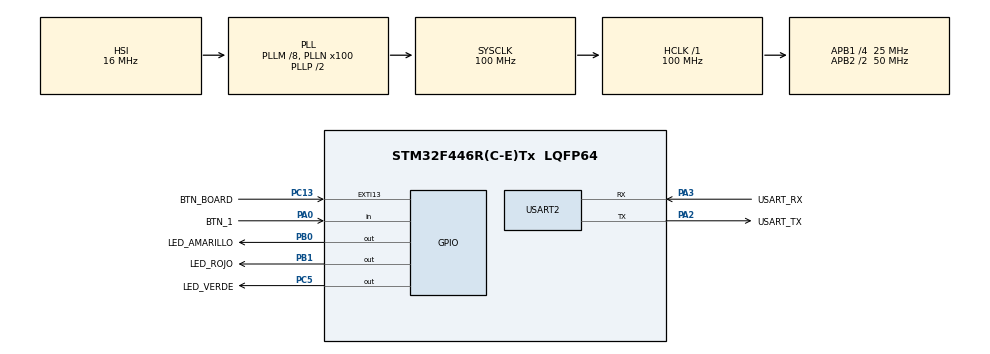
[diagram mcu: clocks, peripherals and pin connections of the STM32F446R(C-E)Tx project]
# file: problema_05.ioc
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FREERTOS.Tasks01=defaultTask,24,128,StartDefaultTask,Default,NULL,Dynamic,NULL,NULL
FREERTOS.configUSE_NEWLIB_REENTRANT=1
Mcu.Family=STM32F4
Mcu.Name=STM32F446R(C-E)Tx
Mcu.Package=LQFP64
NVIC.PriorityGroup=NVIC_PRIORITYGROUP_4
NVIC.TIM1_UP_TIM10_IRQn=true\:15\:0\:false\:false\:true\:false\:false\:true\:true
NVIC.TimeBase=TIM1_UP_TIM10_IRQn
NVIC.TimeBaseIP=TIM1
PA0-WKUP.GPIO_Label=BTN_1
PA0-WKUP.Signal=GPIO_Input
PA13.GPIO_Label=TMS
PA13.Mode=Serial_Wire
PA13.Signal=SYS_JTMS-SWDIO
PA14.GPIO_Label=TCK
PA14.Mode=Serial_Wire
PA14.Signal=SYS_JTCK-SWCLK
PA2.GPIO_Label=USART_TX
PA2.Mode=Asynchronous
PA2.Signal=USART2_TX
PA3.GPIO_Label=USART_RX
PA3.Mode=Asynchronous
PA3.Signal=USART2_RX
PB0.GPIO_Label=LED_AMARILLO
PB0.Signal=GPIO_Output
PB1.GPIO_Label=LED_ROJO
PB1.Signal=GPIO_Output
PB3.GPIO_Label=SWO
PB3.Signal=SYS_JTDO-SWO
PC13.GPIO_Label=BTN_BOARD
PC13.GPIO_ModeDefaultEXTI=GPIO_MODE_IT_RISING
PC13.GPIO_PuPd=GPIO_PULLDOWN
PC13.Signal=GPXTI13
PC14-OSC32_IN.Mode=LSE-External-Oscillator
PC14-OSC32_IN.Signal=RCC_OSC32_IN
PC15-OSC32_OUT.Mode=LSE-External-Oscillator
PC15-OSC32_OUT.Signal=RCC_OSC32_OUT
PC5.GPIO_Label=LED_VERDE
PC5.Signal=GPIO_Output
PH0-OSC_IN.Mode=HSE-External-Oscillator
PH0-OSC_IN.Signal=RCC_OSC_IN
PH1-OSC_OUT.Mode=HSE-External-Oscillator
PH1-OSC_OUT.Signal=RCC_OSC_OUT
ProjectManager.HeapSize=0x200
ProjectManager.StackSize=0x400
ProjectManager.TargetToolchain=STM32CubeIDE
RCC.48MHZClocksFreq_Value=84000000
RCC.AHBFreq_Value=100000000
RCC.APB1CLKDivider=RCC_HCLK_DIV4
RCC.APB1Freq_Value=25000000
RCC.APB1TimFreq_Value=50000000
RCC.APB2CLKDivider=RCC_HCLK_DIV2
RCC.APB2Freq_Value=50000000
RCC.APB2TimFreq_Value=100000000
RCC.CortexFreq_Value=100000000
RCC.FLatency-AdvancedSettings=FLASH_LATENCY_3
RCC.HCLKFreq_Value=100000000
RCC.HSE_VALUE=8000000
RCC.HSI_VALUE=16000000
RCC.PLLM=8
RCC.PLLN=100
RCC.SYSCLKFreq_VALUE=100000000
RCC.SYSCLKSource=RCC_SYSCLKSOURCE_PLLCLK
RCC.USBFreq_Value=100000000
RCC.VCOOutputFreq_Value=200000000
USART2.VirtualMode=VM_ASYNC
VP_FREERTOS_VS_CMSIS_V2.Mode=CMSIS_V2
VP_SYS_VS_tim1.Mode=TIM1
board=NUCLEO-F446RE

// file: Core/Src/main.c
/* USER CODE BEGIN Header */
/**
  ******************************************************************************
  * @file           : main.c
  * @brief          : Main program body
  ******************************************************************************
  * @attention
  *
  * Copyright (c) 2026 STMicroelectronics.
  * All rights reserved.
  *
  * This software is licensed under terms that can be found in the LICENSE file
  * in the root directory of this software component.
  * If no LICENSE file comes with this software, it is provided AS-IS.
  *
  ******************************************************************************
  */
/* USER CODE END Header */
#include "main.h"
#include "cmsis_os.h"

/* USER CODE BEGIN Includes */
#include "interfaz_tp.h"
#include "task.h"
#include "semphr.h"

/* USER CODE END Includes */

UART_HandleTypeDef huart2;

/* Definitions for defaultTask */
osThreadId_t defaultTaskHandle;
const osThreadAttr_t defaultTask_attributes = {
  .name = "defaultTask",
  .stack_size = 128 * 4,
  .priority = (osPriority_t) osPriorityNormal,
};
/* USER CODE BEGIN PV */
SemaphoreHandle_t sem_led;
/* USER CODE END PV */

void SystemClock_Config(void);
static void MX_GPIO_Init(void);
static void MX_USART2_UART_Init(void);
void StartDefaultTask(void *argument);

/* USER CODE BEGIN 0 */
void tarea_led(void *p){
	while(1) {
		xSemaphoreTake(sem_led,portMAX_DELAY);
		invertir_led(2);
	}
}

void tarea_pulsador(void *p){
	int estado = 0;
	int debounce = 0;
	int espera_ms = 500;
	int mi_espera = 0;
	TickType_t presiono;
	TickType_t diferencia;

	while(1){
		mi_espera++;
		if(mi_espera >= espera_ms) {
			mi_espera = 0;
			xSemaphoreGive(sem_led);
		}

		switch(estado){
		case 0:
			if(pulsador_activo(0)){
				estado++;
				debounce=20;
			}
			break;
		case 1:
			if(!--debounce){
				if(pulsador_activo(0)){
					presiono = xTaskGetTickCount();
					estado++;
				}
				else {
					estado--;
				}
			}
			break;
		case 2:
			if(!pulsador_activo(0)){
				estado++;
				debounce=20;
			}
			break;
		case 3:
			if(!--debounce){
				if(!pulsador_activo(0)){
					diferencia = xTaskGetTickCount() - presiono;
					if(diferencia<50) {
						diferencia = 50;
					}
					if(diferencia>1000){
						diferencia = 1000;
					}
					espera_ms = diferencia;
					estado=0;
				}
				else {
					estado--;
				}
			}
			break;
		default:
			estado = 0;
			break;
		}
		vTaskDelay(pdMS_TO_TICKS(1));
	}
}

/* USER CODE END 0 */

int main(void)
{

  /* MCU Configuration--------------------------------------------------------*/

  /* Reset of all peripherals, Initializes the Flash interface and the Systick. */
  HAL_Init();

  /* Configure the system clock */
  SystemClock_Config();

  /* Initialize all configured peripherals */
  MX_GPIO_Init();
  MX_USART2_UART_Init();

  /* Init scheduler */
  osKernelInitialize();

  /* USER CODE BEGIN RTOS_SEMAPHORES */
  /* add semaphores, ... */
  sem_led = xSemaphoreCreateBinary();
  /* USER CODE END RTOS_SEMAPHORES */

  /* Create the thread(s) */
  /* creation of defaultTask */
  defaultTaskHandle = osThreadNew(StartDefaultTask, NULL, &defaultTask_attributes);

  /* USER CODE BEGIN RTOS_THREADS */
  /* add threads, ... */

  xTaskCreate(tarea_led,
			  "led",
			  configMINIMAL_STACK_SIZE,
			  NULL,
			  tskIDLE_PRIORITY+1,
			  NULL);

  xTaskCreate(tarea_pulsador,
		  	  "btn",
			  configMINIMAL_STACK_SIZE * 4,
			  NULL,
			  tskIDLE_PRIORITY+1,
			  NULL);

  /* USER CODE END RTOS_THREADS */

  /* Start scheduler */
  osKernelStart();

  /* We should never get here as control is now taken by the scheduler */

  /* Infinite loop */
  while (1)
  {

  }
}

void SystemClock_Config(void)
{
  RCC_OscInitTypeDef RCC_OscInitStruct = {0};
  RCC_ClkInitTypeDef RCC_ClkInitStruct = {0};

  /** Configure the main internal regulator output voltage
  */
  __HAL_RCC_PWR_CLK_ENABLE();
  __HAL_PWR_VOLTAGESCALING_CONFIG(PWR_REGULATOR_VOLTAGE_SCALE3);

  /** Initializes the RCC Oscillators according to the specified parameters
  * in the RCC_OscInitTypeDef structure.
  */
  RCC_OscInitStruct.OscillatorType = RCC_OSCILLATORTYPE_HSI;
  RCC_OscInitStruct.HSIState = RCC_HSI_ON;
  RCC_OscInitStruct.HSICalibrationValue = RCC_HSICALIBRATION_DEFAULT;
  RCC_OscInitStruct.PLL.PLLState = RCC_PLL_ON;
  RCC_OscInitStruct.PLL.PLLSource = RCC_PLLSOURCE_HSI;
  RCC_OscInitStruct.PLL.PLLM = 8;
  RCC_OscInitStruct.PLL.PLLN = 100;
  RCC_OscInitStruct.PLL.PLLP = RCC_PLLP_DIV2;
  RCC_OscInitStruct.PLL.PLLQ = 2;
  RCC_OscInitStruct.PLL.PLLR = 2;
  if (HAL_RCC_OscConfig(&RCC_OscInitStruct) != HAL_OK)
  {
    Error_Handler();
  }

  /** Initializes the CPU, AHB and APB buses clocks
  */
  RCC_ClkInitStruct.ClockType = RCC_CLOCKTYPE_HCLK|RCC_CLOCKTYPE_SYSCLK
                              |RCC_CLOCKTYPE_PCLK1|RCC_CLOCKTYPE_PCLK2;
  RCC_ClkInitStruct.SYSCLKSource = RCC_SYSCLKSOURCE_PLLCLK;
  RCC_ClkInitStruct.AHBCLKDivider = RCC_SYSCLK_DIV1;
  RCC_ClkInitStruct.APB1CLKDivider = RCC_HCLK_DIV4;
  RCC_ClkInitStruct.APB2CLKDivider = RCC_HCLK_DIV2;

  if (HAL_RCC_ClockConfig(&RCC_ClkInitStruct, FLASH_LATENCY_3) != HAL_OK)
  {
    Error_Handler();
  }
}

static void MX_USART2_UART_Init(void)
{

  huart2.Instance = USART2;
  huart2.Init.BaudRate = 115200;
  huart2.Init.WordLength = UART_WORDLENGTH_8B;
  huart2.Init.StopBits = UART_STOPBITS_1;
  huart2.Init.Parity = UART_PARITY_NONE;
  huart2.Init.Mode = UART_MODE_TX_RX;
  huart2.Init.HwFlowCtl = UART_HWCONTROL_NONE;
  huart2.Init.OverSampling = UART_OVERSAMPLING_16;
  if (HAL_UART_Init(&huart2) != HAL_OK)
  {
    Error_Handler();
  }

}

static void MX_GPIO_Init(void)
{
  GPIO_InitTypeDef GPIO_InitStruct = {0};

  /* GPIO Ports Clock Enable */
  __HAL_RCC_GPIOC_CLK_ENABLE();
  __HAL_RCC_GPIOH_CLK_ENABLE();
  __HAL_RCC_GPIOA_CLK_ENABLE();
  __HAL_RCC_GPIOB_CLK_ENABLE();

  /*Configure GPIO pin Output Level */
  HAL_GPIO_WritePin(LED_VERDE_GPIO_Port, LED_VERDE_Pin, GPIO_PIN_RESET);

  /*Configure GPIO pin Output Level */
  HAL_GPIO_WritePin(GPIOB, LED_AMARILLO_Pin|LED_ROJO_Pin, GPIO_PIN_RESET);

  /*Configure GPIO pin : BTN_BOARD_Pin */
  GPIO_InitStruct.Pin = BTN_BOARD_Pin;
  GPIO_InitStruct.Mode = GPIO_MODE_IT_RISING;
  GPIO_InitStruct.Pull = GPIO_PULLDOWN;
  HAL_GPIO_Init(BTN_BOARD_GPIO_Port, &GPIO_InitStruct);

  /*Configure GPIO pin : BTN_1_Pin */
  GPIO_InitStruct.Pin = BTN_1_Pin;
  GPIO_InitStruct.Mode = GPIO_MODE_INPUT;
  GPIO_InitStruct.Pull = GPIO_NOPULL;
  HAL_GPIO_Init(BTN_1_GPIO_Port, &GPIO_InitStruct);

  /*Configure GPIO pin : LED_VERDE_Pin */
  GPIO_InitStruct.Pin = LED_VERDE_Pin;
  GPIO_InitStruct.Mode = GPIO_MODE_OUTPUT_PP;
  GPIO_InitStruct.Pull = GPIO_NOPULL;
  GPIO_InitStruct.Speed = GPIO_SPEED_FREQ_LOW;
  HAL_GPIO_Init(LED_VERDE_GPIO_Port, &GPIO_InitStruct);

  /*Configure GPIO pins : LED_AMARILLO_Pin LED_ROJO_Pin */
  GPIO_InitStruct.Pin = LED_AMARILLO_Pin|LED_ROJO_Pin;
  GPIO_InitStruct.Mode = GPIO_MODE_OUTPUT_PP;
  GPIO_InitStruct.Pull = GPIO_NOPULL;
  GPIO_InitStruct.Speed = GPIO_SPEED_FREQ_LOW;
  HAL_GPIO_Init(GPIOB, &GPIO_InitStruct);

}

void StartDefaultTask(void *argument)
{
  for(;;)
  {
    osDelay(1);
  }
}

void HAL_TIM_PeriodElapsedCallback(TIM_HandleTypeDef *htim)
{
  if (htim->Instance == TIM1)
  {
    HAL_IncTick();
  }
}

void Error_Handler(void)
{
  __disable_irq();
  while (1)
  {
  }
}
